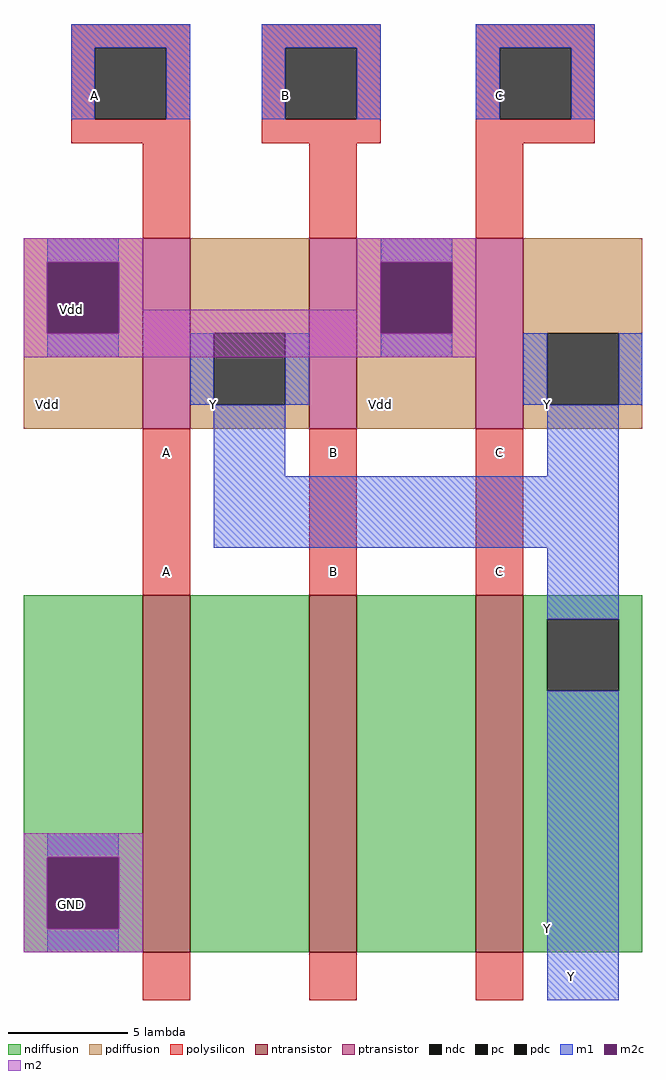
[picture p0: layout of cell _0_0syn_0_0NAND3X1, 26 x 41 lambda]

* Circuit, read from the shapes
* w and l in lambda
.subckt _0_0syn_0_0NAND3X1 GND Vdd C B Y A
M1 n1 A GND VSUBS nfet w=15 l=2
M2 n2 B n1 VSUBS nfet w=15 l=2
M3 Y C n2 VSUBS nfet w=15 l=2
M4 Y A Vdd NWELL pfet w=8 l=2
M5 Vdd B Y NWELL pfet w=8 l=2
M6 Y C Vdd NWELL pfet w=8 l=2
.ends

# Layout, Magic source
magic
tech sky130l
<< ndiffusion >>
rect 8 9 13 20
rect 8 6 9 9
rect 12 6 13 9
rect 8 5 13 6
rect 15 5 20 20
rect 22 5 27 20
rect 29 19 34 20
rect 29 16 30 19
rect 33 16 34 19
rect 29 5 34 16
<< ndc >>
rect 9 6 12 9
rect 30 16 33 19
<< ntransistor >>
rect 13 5 15 20
rect 20 5 22 20
rect 27 5 29 20
<< pdiffusion >>
rect 8 34 13 35
rect 8 31 9 34
rect 12 31 13 34
rect 8 27 13 31
rect 15 31 20 35
rect 15 28 16 31
rect 19 28 20 31
rect 15 27 20 28
rect 22 34 27 35
rect 22 31 23 34
rect 26 31 27 34
rect 22 27 27 31
rect 29 31 34 35
rect 29 28 30 31
rect 33 28 34 31
rect 29 27 34 28
<< pdc >>
rect 9 31 12 34
rect 16 28 19 31
rect 23 31 26 34
rect 30 28 33 31
<< ptransistor >>
rect 13 27 15 35
rect 20 27 22 35
rect 27 27 29 35
<< polysilicon >>
rect 10 43 15 44
rect 10 40 11 43
rect 14 40 15 43
rect 10 39 15 40
rect 18 43 23 44
rect 18 40 19 43
rect 22 40 23 43
rect 18 39 23 40
rect 27 43 32 44
rect 27 40 28 43
rect 31 40 32 43
rect 27 39 32 40
rect 13 35 15 39
rect 20 35 22 39
rect 27 35 29 39
rect 13 20 15 27
rect 20 20 22 27
rect 27 20 29 27
rect 13 3 15 5
rect 20 3 22 5
rect 27 3 29 5
<< pc >>
rect 11 40 14 43
rect 19 40 22 43
rect 28 40 31 43
<< m1 >>
rect 10 43 15 44
rect 10 40 11 43
rect 14 40 15 43
rect 18 43 23 44
rect 18 40 19 43
rect 22 40 23 43
rect 27 43 32 44
rect 27 40 28 43
rect 31 40 32 43
rect 9 34 12 35
rect 23 34 26 35
rect 9 30 12 31
rect 15 28 16 31
rect 19 28 20 31
rect 23 30 26 31
rect 29 28 30 31
rect 33 28 34 31
rect 16 25 19 28
rect 30 25 33 28
rect 16 22 33 25
rect 30 19 33 22
rect 9 9 12 10
rect 9 5 12 6
rect 30 3 33 16
<< m2c >>
rect 9 31 12 34
rect 23 31 26 34
rect 9 6 12 9
<< m2 >>
rect 8 34 13 35
rect 8 31 9 34
rect 12 32 13 34
rect 22 34 27 35
rect 22 32 23 34
rect 12 31 23 32
rect 26 31 27 34
rect 8 30 27 31
rect 8 9 13 10
rect 8 6 9 9
rect 12 6 13 9
rect 8 5 13 6
<< labels >>
rlabel ndiffusion 30 6 30 6 3 Y
rlabel pdiffusion 30 28 30 28 3 Y
rlabel polysilicon 28 21 28 21 3 C
rlabel polysilicon 28 26 28 26 3 C
rlabel pdiffusion 23 28 23 28 3 Vdd
rlabel polysilicon 21 21 21 21 3 B
rlabel polysilicon 21 26 21 26 3 B
rlabel pdiffusion 16 28 16 28 3 Y
rlabel polysilicon 14 21 14 21 3 A
rlabel polysilicon 14 26 14 26 3 A
rlabel pdiffusion 9 28 9 28 3 Vdd
rlabel m1 11 41 11 41 3 A
port 6 e
rlabel m1 19 41 19 41 3 B
port 4 e
rlabel m1 28 41 28 41 3 C
port 3 e
rlabel pdc 10 32 10 32 3 Vdd
port 2 e
rlabel ndc 10 7 10 7 3 GND
port 1 e
rlabel m1 31 4 31 4 3 Y
port 5 e
<< end >>
